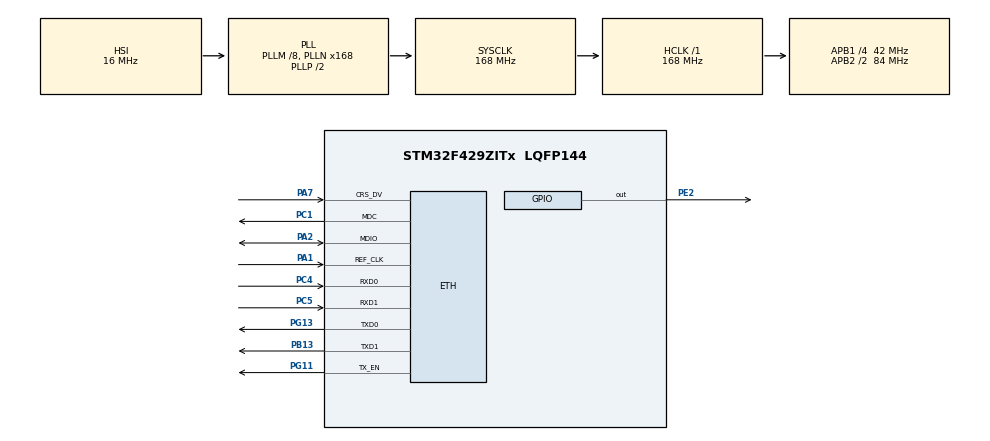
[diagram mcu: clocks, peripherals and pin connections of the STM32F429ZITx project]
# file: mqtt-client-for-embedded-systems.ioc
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Mcu.Family=STM32F4
RCC.CortexFreq_Value=168000000
PA7.Mode=RMII
PC4.Signal=ETH_RXD0
PC14/OSC32_IN.Mode=LSE-External-Oscillator
LWIP.LWIP_DHCP=0
PC5.Mode=RMII
RCC.APB1CLKDivider=RCC_HCLK_DIV4
PB13.Signal=ETH_TXD1
PG13.Signal=ETH_TXD0
ETH.PhyAddress=0
PG11.Signal=ETH_TX_EN
RCC.SYSCLKSource=RCC_SYSCLKSOURCE_PLLCLK
ProjectManager.StackSize=0x400
VP_LWIP_VS_Enabled.Mode=Enabled
LWIP.GATEWAY_ADDRESS=192.168.001.001
LWIP.NETMASK_ADDRESS=255.255.255.000
PA13.Signal=SYS_JTMS-SWDIO
ProjectManager.TargetToolchain=STM32CubeIDE
PH0/OSC_IN.Mode=HSE-External-Clock-Source
RCC.HCLKFreq_Value=168000000
RCC.APB2TimFreq_Value=168000000
PH1/OSC_OUT.Signal=RCC_OSC_OUT
PA1.Signal=ETH_REF_CLK
RCC.AHBFreq_Value=168000000
RCC.HSE_VALUE=8000000
board=custom
RCC.VCOOutputFreq_Value=336000000
PH0/OSC_IN.Signal=RCC_OSC_IN
RCC.APB2Freq_Value=84000000
PA1.Mode=RMII
PA14.Mode=Serial_Wire
PE2.Signal=GPIO_Output
PG13.Mode=RMII
PA13.Mode=Serial_Wire
PH1/OSC_OUT.Mode=HSE-External-Clock-Source
Mcu.Name=STM32F429ZITx
PA2.Signal=ETH_MDIO
RCC.48MHZClocksFreq_Value=84000000
RCC.SYSCLKFreq_VALUE=168000000
Mcu.Package=LQFP144
ETH.MediaInterface=ETH_MEDIA_INTERFACE_RMII
PC14/OSC32_IN.Signal=RCC_OSC32_IN
PC15/OSC32_OUT.Mode=LSE-External-Oscillator
PG11.Mode=RMII
PA14.Signal=SYS_JTCK-SWCLK
ProjectManager.HeapSize=0x200
LWIP.Version=v2.1.2_Cube
RCC.HSI_VALUE=16000000
NVIC.PriorityGroup=NVIC_PRIORITYGROUP_4
RCC.APB2CLKDivider=RCC_HCLK_DIV2
RCC.PLLM=8
RCC.PLLN=168
RCC.APB1TimFreq_Value=84000000
PA2.Mode=RMII
PC15/OSC32_OUT.Signal=RCC_OSC32_OUT
PC5.Signal=ETH_RXD1
PB13.Mode=RMII
RCC.APB1Freq_Value=42000000
PC1.Signal=ETH_MDC
PC4.Mode=RMII
LWIP.IP_ADDRESS=192.168.001.003
PC1.Mode=RMII
PA7.Signal=ETH_CRS_DV

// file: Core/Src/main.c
/* USER CODE BEGIN Header */
/**
  ******************************************************************************
  * @file           : main.c
  * @brief          : Main program body
  ******************************************************************************
  * @attention
  *
  * <h2><center>&copy; Copyright (c) 2023 STMicroelectronics.
  * All rights reserved.</center></h2>
  *
  * This software component is licensed by ST under BSD 3-Clause license,
  * the "License"; You may not use this file except in compliance with the
  * License. You may obtain a copy of the License at:
  *                        opensource.org/licenses/BSD-3-Clause
  *
  ******************************************************************************
  */
/* USER CODE END Header */
#include "main.h"
#include "lwip.h"
#include "gpio.h"

/* USER CODE BEGIN Includes */

#include "mqtt_client.h"
#include <string.h>
#include <stdbool.h>
#include <stdio.h>
/* USER CODE END Includes */

/* USER CODE BEGIN PV */
struct mqtt_client_t mqtt_client;
const struct mqtt_client_connect_opts_t conn_opts = {
	.client_id="stm krzysiu",
	.username=NULL,
	.password=NULL,
	.will_msg.topic="info/device",
	.will_msg.payload = "I was disconnected",
	.will_msg.qos = 0,
	.will_msg.retain = false,
	.keepalive_ms = 10000
};
/* USER CODE END PV */

void SystemClock_Config(void);

/* USER CODE BEGIN 0 */

void on_msg_received_cb(union mqtt_context_t* context)
{
	printf("Received message from topic: %s : %s, payload len: %d\n", context->pub.topic, context->pub.payload, context->pub.payload_len);
}

void on_sub_completed_cb(struct mqtt_suback_resp_t* suback_resp, union mqtt_context_t* context)
{
	if (suback_resp->suback_rc == 0x80)
	{
		printf("Failed to subscribe to topic: %s\n", context->sub.topic);
	}
	else
	{
		printf("Subscribed to topic: %s with max QOS: %d\n", context->sub.topic, suback_resp->suback_rc);
	}
}

void on_pub_completed_cb(union mqtt_context_t* context)
{
	printf("Publish msg: %s to topic: %s completed\n", context->pub.payload, context->pub.topic);
}

uint32_t current_time = 0;
uint32_t previous_time = 0;

/* USER CODE END 0 */

int main(void)
{

  /* MCU Configuration--------------------------------------------------------*/

  /* Reset of all peripherals, Initializes the Flash interface and the Systick. */
  HAL_Init();

  /* Configure the system clock */
  SystemClock_Config();

  /* Initialize all configured peripherals */
  MX_GPIO_Init();
  MX_LWIP_Init();
  /* USER CODE BEGIN 2 */

  MQTTClient_init(&mqtt_client, HAL_GetTick, &conn_opts);
  MQTTClient_set_cb_on_msg_received(&mqtt_client, on_msg_received_cb);
  MQTTClient_set_cb_on_sub_completed(&mqtt_client, on_sub_completed_cb);
  MQTTClient_set_cb_on_pub_completed(&mqtt_client, on_pub_completed_cb);

  enum mqtt_client_err_t connect_rc = MQTTClient_connect(&mqtt_client);
  if (connect_rc == MQTT_TIMEOUT_ON_CONNECT)
  {
	  printf("Timeout on connection to MQTT broker.\n");
	  while (1);
  }
  else if (connect_rc == MQTT_CONNECTION_REFUSED_BY_BROKER)
  {
	  printf("Connection refused by MQTT broker. The reason: %d\n", mqtt_client.connack_resp.conn_rc);
	  while (1);
  }
  else if (connect_rc == MQTT_TCP_CONNECT_FAILURE)
  {
	  printf("No TCP connection\n");
	  while (1);
  }
  else if (connect_rc == MQTT_MEMORY_ERR)
  {
	  printf("Memory error\n");
	  while (1);
  }
  else
  {
	  printf("Connected to MQTT broker successfully\n");
  }

  struct mqtt_pub_msg_t pub_msg_qos_0 = { .topic="sensor/temp", .payload="qos 0 msg", .qos=0, .retain=false };
  struct mqtt_pub_msg_t pub_msg_qos_1 = { .topic="sensor/temp", .payload="qos 1 msg", .qos=1, .retain=false };
  struct mqtt_pub_msg_t pub_msg_qos_2 = { .topic="sensor/temp", .payload="qos 2 msg", .qos=2, .retain=false };

  MQTTClient_publish(&mqtt_client, &pub_msg_qos_0);
  MQTTClient_publish(&mqtt_client, &pub_msg_qos_1);
  MQTTClient_publish(&mqtt_client, &pub_msg_qos_2);

  struct mqtt_sub_msg_t sub_voltage = { .topic="drive/voltage", .qos=0 };
  struct mqtt_sub_msg_t sub_current = { .topic="drive/current", .qos=1 };
  struct mqtt_sub_msg_t sub_power = { .topic="drive/power", .qos=2 };

  MQTTClient_subscribe(&mqtt_client, &sub_voltage);
  MQTTClient_subscribe(&mqtt_client, &sub_current);
  MQTTClient_subscribe(&mqtt_client, &sub_power);

  struct mqtt_pub_msg_t new_msg = { .topic="sensor/temp", .payload="check if ok payload", .qos=2, .retain=false };
  MQTTClient_publish(&mqtt_client, &new_msg);

  previous_time = HAL_GetTick();
  /* USER CODE END 2 */

  /* Infinite loop */
  while (1)
  {

    /* USER CODE BEGIN 3 */
	  enum mqtt_client_err_t rc = MQTTClient_loop(&mqtt_client);
	  if (rc != MQTT_SUCCESS)
	  {
		  printf("Disconnected due to: %d\n", rc);
		  while (1);
	  }

	  current_time = HAL_GetTick();
	  if (current_time - previous_time >= 20000 && mqtt_client.mqtt_connected)
	  {
		  struct mqtt_pub_msg_t temp_msg = { .topic="sensor/temp", .payload="25 celsius", .qos=1, .retain=false };
		  struct mqtt_pub_msg_t magnet_msg = { .topic="sensor/magnet", .payload="5 uT", .qos=0, .retain=false };
		  struct mqtt_pub_msg_t acc_msg = { .topic="sensor/acc", .payload="5 g", .qos=2, .retain=false };

		  MQTTClient_publish(&mqtt_client, &temp_msg);
		  MQTTClient_publish(&mqtt_client, &magnet_msg);
		  MQTTClient_publish(&mqtt_client, &acc_msg);
		  previous_time = current_time;

		  struct mqtt_pub_msg_t status_msg = { .topic="info/device", .payload="ok", .qos=2, .retain=false };
		  MQTTClient_publish(&mqtt_client, &status_msg);
	  }
  }
  /* USER CODE END 3 */
}

void SystemClock_Config(void)
{
  RCC_OscInitTypeDef RCC_OscInitStruct = {0};
  RCC_ClkInitTypeDef RCC_ClkInitStruct = {0};

  /** Configure the main internal regulator output voltage
  */
  __HAL_RCC_PWR_CLK_ENABLE();
  __HAL_PWR_VOLTAGESCALING_CONFIG(PWR_REGULATOR_VOLTAGE_SCALE1);
  /** Initializes the RCC Oscillators according to the specified parameters
  * in the RCC_OscInitTypeDef structure.
  */
  RCC_OscInitStruct.OscillatorType = RCC_OSCILLATORTYPE_HSI;
  RCC_OscInitStruct.HSIState = RCC_HSI_ON;
  RCC_OscInitStruct.HSICalibrationValue = RCC_HSICALIBRATION_DEFAULT;
  RCC_OscInitStruct.PLL.PLLState = RCC_PLL_ON;
  RCC_OscInitStruct.PLL.PLLSource = RCC_PLLSOURCE_HSI;
  RCC_OscInitStruct.PLL.PLLM = 8;
  RCC_OscInitStruct.PLL.PLLN = 168;
  RCC_OscInitStruct.PLL.PLLP = RCC_PLLP_DIV2;
  RCC_OscInitStruct.PLL.PLLQ = 4;
  if (HAL_RCC_OscConfig(&RCC_OscInitStruct) != HAL_OK)
  {
    Error_Handler();
  }
  /** Initializes the CPU, AHB and APB buses clocks
  */
  RCC_ClkInitStruct.ClockType = RCC_CLOCKTYPE_HCLK|RCC_CLOCKTYPE_SYSCLK
                              |RCC_CLOCKTYPE_PCLK1|RCC_CLOCKTYPE_PCLK2;
  RCC_ClkInitStruct.SYSCLKSource = RCC_SYSCLKSOURCE_PLLCLK;
  RCC_ClkInitStruct.AHBCLKDivider = RCC_SYSCLK_DIV1;
  RCC_ClkInitStruct.APB1CLKDivider = RCC_HCLK_DIV4;
  RCC_ClkInitStruct.APB2CLKDivider = RCC_HCLK_DIV2;

  if (HAL_RCC_ClockConfig(&RCC_ClkInitStruct, FLASH_LATENCY_5) != HAL_OK)
  {
    Error_Handler();
  }
}

void Error_Handler(void)
{
  __disable_irq();
  while (1)
  {
  }
}

/************************ (C) COPYRIGHT STMicroelectronics *****END OF FILE****/
